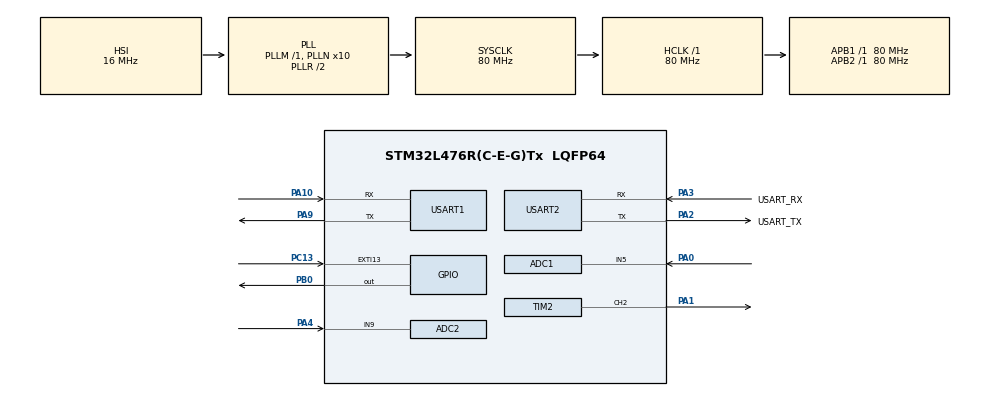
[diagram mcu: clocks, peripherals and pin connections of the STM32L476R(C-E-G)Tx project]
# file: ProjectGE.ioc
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ADC1.Channel-0\#ChannelRegularConversion=ADC_CHANNEL_5
ADC1.NbrOfConversionFlag=1
ADC1.OffsetNumber-0\#ChannelRegularConversion=ADC_OFFSET_NONE
ADC1.Rank-0\#ChannelRegularConversion=1
ADC1.SamplingTime-0\#ChannelRegularConversion=ADC_SAMPLETIME_2CYCLES_5
ADC1.master=1
ADC2.Channel-2\#ChannelRegularConversion=ADC_CHANNEL_9
ADC2.NbrOfConversionFlag=1
ADC2.OffsetNumber-2\#ChannelRegularConversion=ADC_OFFSET_NONE
ADC2.Rank-2\#ChannelRegularConversion=1
ADC2.SamplingTime-2\#ChannelRegularConversion=ADC_SAMPLETIME_2CYCLES_5
FREERTOS.Tasks01=defaultTask,0,128,StartDefaultTask,Default,NULL,Dynamic,NULL,NULL
FREERTOS.configUSE_NEWLIB_REENTRANT=1
Mcu.Family=STM32L4
Mcu.Name=STM32L476R(C-E-G)Tx
Mcu.Package=LQFP64
NVIC.EXTI15_10_IRQn=true\:5\:0\:false\:false\:true\:true\:true\:true
NVIC.PriorityGroup=NVIC_PRIORITYGROUP_4
NVIC.TIM1_UP_TIM16_IRQn=true\:15\:0\:false\:false\:true\:false\:false\:true
NVIC.TIM3_IRQn=true\:5\:0\:false\:false\:true\:true\:true\:true
NVIC.TimeBase=TIM1_UP_TIM16_IRQn
NVIC.TimeBaseIP=TIM1
NVIC.USART1_IRQn=true\:5\:0\:false\:false\:true\:true\:true\:true
NVIC.USART2_IRQn=true\:5\:0\:false\:false\:true\:true\:true\:true
PA0.Signal=ADCx_IN5
PA1.Signal=S_TIM2_CH2
PA10.Mode=Asynchronous
PA10.Signal=USART1_RX
PA13\ (JTMS-SWDIO).GPIO_Label=TMS
PA13\ (JTMS-SWDIO).Mode=Serial_Wire
PA13\ (JTMS-SWDIO).Signal=SYS_JTMS-SWDIO
PA14\ (JTCK-SWCLK).GPIO_Label=TCK
PA14\ (JTCK-SWCLK).Mode=Serial_Wire
PA14\ (JTCK-SWCLK).Signal=SYS_JTCK-SWCLK
PA2.GPIO_Label=USART_TX
PA2.GPIO_Mode=GPIO_MODE_AF_PP
PA2.GPIO_PuPd=GPIO_NOPULL
PA2.GPIO_Speed=GPIO_SPEED_FREQ_VERY_HIGH
PA2.Mode=Asynchronous
PA2.Signal=USART2_TX
PA3.GPIO_Label=USART_RX
PA3.GPIO_Mode=GPIO_MODE_AF_PP
PA3.GPIO_PuPd=GPIO_NOPULL
PA3.GPIO_Speed=GPIO_SPEED_FREQ_VERY_HIGH
PA3.Mode=Asynchronous
PA3.Signal=USART2_RX
PA4.Signal=ADCx_IN9
PA9.Mode=Asynchronous
PA9.Signal=USART1_TX
PB0.Signal=GPIO_Output
PB3\ (JTDO-TRACESWO).GPIO_Label=SWO
PB3\ (JTDO-TRACESWO).Signal=SYS_JTDO-SWO
PC13.GPIO_ModeDefaultEXTI=GPIO_MODE_IT_FALLING
PC13.Signal=GPXTI13
PC14-OSC32_IN\ (PC14).Mode=LSE-External-Oscillator
PC14-OSC32_IN\ (PC14).Signal=RCC_OSC32_IN
PC15-OSC32_OUT\ (PC15).Mode=LSE-External-Oscillator
PC15-OSC32_OUT\ (PC15).Signal=RCC_OSC32_OUT
PH0-OSC_IN\ (PH0).Signal=RCC_OSC_IN
PH1-OSC_OUT\ (PH1).Signal=RCC_OSC_OUT
ProjectManager.HeapSize=0x200
ProjectManager.StackSize=0x400
ProjectManager.TargetToolchain=STM32CubeIDE
RCC.ADCFreq_Value=64000000
RCC.AHBFreq_Value=80000000
RCC.APB1Freq_Value=80000000
RCC.APB1TimFreq_Value=80000000
RCC.APB2Freq_Value=80000000
RCC.APB2TimFreq_Value=80000000
RCC.CortexFreq_Value=80000000
RCC.HCLKFreq_Value=80000000
RCC.HSE_VALUE=8000000
RCC.HSI_VALUE=16000000
RCC.MSI_VALUE=4000000
RCC.PLLN=10
RCC.PLLSourceVirtual=RCC_PLLSOURCE_HSI
RCC.PREFETCH_ENABLE=1
RCC.SYSCLKFreq_VALUE=80000000
RCC.SYSCLKSource=RCC_SYSCLKSOURCE_PLLCLK
RCC.USBFreq_Value=64000000
RCC.VCOOutputFreq_Value=160000000
SH.ADCx_IN5.0=ADC1_IN5,IN5-Single-Ended
SH.ADCx_IN9.0=ADC2_IN9,IN9-Single-Ended
SH.S_TIM2_CH2.0=TIM2_CH2,PWM Generation2 CH2
TIM2.Channel-PWM\ Generation2\ CH2=TIM_CHANNEL_2
TIM2.Period=8000
TIM2.Prescaler=127
TIM3.Period=10000-1
TIM3.Prescaler=8000-1
USART1.VirtualMode-Asynchronous=VM_ASYNC
USART2.VirtualMode-Asynchronous=VM_ASYNC
VP_FREERTOS_VS_CMSIS_V1.Mode=CMSIS_V1
VP_SYS_VS_tim1.Mode=TIM1
VP_TIM2_VS_ClockSourceINT.Mode=Internal
VP_TIM3_VS_ClockSourceINT.Mode=Internal
board=NUCLEO-L476RG

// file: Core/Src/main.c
/* USER CODE BEGIN Header */
/**
  ******************************************************************************
  * @file           : main.c
  * @brief          : Main program body
  ******************************************************************************
  * @attention
  *
  * <h2><center>&copy; Copyright (c) 2021 STMicroelectronics.
  * All rights reserved.</center></h2>
  *
  * This software component is licensed by ST under BSD 3-Clause license,
  * the "License"; You may not use this file except in compliance with the
  * License. You may obtain a copy of the License at:
  *                        opensource.org/licenses/BSD-3-Clause
  *
  ******************************************************************************
  */
/* USER CODE END Header */
#include "main.h"
#include "cmsis_os.h"

/* USER CODE BEGIN Includes */
#include "string.h"
#include <stdio.h>
/* USER CODE END Includes */

ADC_HandleTypeDef hadc1;
ADC_HandleTypeDef hadc2;

TIM_HandleTypeDef htim2;
TIM_HandleTypeDef htim3;

osThreadId defaultTaskHandle;

void SystemClock_Config(void);
void PeriphCommonClock_Config(void);
static void MX_GPIO_Init(void);
static void MX_USART2_UART_Init(void);
static void MX_ADC1_Init(void);
static void MX_USART1_UART_Init(void);
static void MX_TIM3_Init(void);
static void MX_TIM2_Init(void);
static void MX_ADC2_Init(void);
void StartDefaultTask(void const * argument);

/* USER CODE BEGIN 0 */
uint8_t txData[13] = "Hello World\r\n";

#define TRUE  1
#define FALSE 0

#define TX_QUEUE_SIZE 128
#define RX_QUEUE_SIZE 5
#define USART_1 1
#define USART_2 2
extern void frear();

QueueHandle_t tx_queue_1;
QueueHandle_t rx_queue_1;
QueueHandle_t tx_queue_2;
QueueHandle_t rx_queue_2;
SemaphoreHandle_t uart_1_mutex = NULL;
SemaphoreHandle_t uart_2_mutex = NULL;

void sendchar(char c, char usart){
	if(usart == USART_1){
		xQueueSend(tx_queue_1, &c, HAL_MAX_DELAY);
		LL_USART_EnableIT_TXE(USART1);
	}
	else if( usart == USART_2){
		xQueueSend(tx_queue_2, &c, HAL_MAX_DELAY);
		LL_USART_EnableIT_TXE(USART2);
	}
}

void sendString(char * str, char usart){
	while(*str != 0){
		sendchar(*str, usart);
		str++;
	}
}

uint16_t read_voltageUNO(void) {
	HAL_ADC_Start(&hadc1);

	HAL_ADC_PollForConversion(&hadc1, HAL_MAX_DELAY);

	uint16_t input = HAL_ADC_GetValue(&hadc1);

	return input;
}

uint16_t read_voltageDUO(void) {
	HAL_ADC_Start(&hadc2);

	HAL_ADC_PollForConversion(&hadc2, HAL_MAX_DELAY);

	uint16_t input = HAL_ADC_GetValue(&hadc2);

	return input;
}

uint16_t temp1 = 0;
uint16_t temp2 = 0;
uint16_t count = 0;
uint16_t tempS = 0;
uint16_t pwm_value = 0;

void pont(void * vParam){
	char buff1[26];
	int cycle_count = 100000;
	while(1){
		if(count == 0){
			temp1 = read_voltageUNO();
			temp2 = read_voltageDUO();
	        if(pwm_value < 7500)
	        {
	            TIM2->CCR2 = pwm_value;
	            tempS += temp1+temp2;
	            pwm_value = tempS;
	        }
	        if(pwm_value > 0)
	        {
	            TIM2->CCR2 = pwm_value;
	            tempS -= temp1+temp2;
	            pwm_value = tempS;
	        }
		}
		else
		{
			temp1 = 0;
			temp2 = 0;
		}

		if(cycle_count == 0) {
			sprintf(buff1,"%d\r\n", temp1 + temp2);
			sendString(buff1, USART_1);
			cycle_count=100000;
		} else {
			cycle_count--;
		}
	}
}

//retirar essa função no final

//void print_scanner(){
//	char buff1[26];
//	sprintf(buff1,"%d\r\n", temp1 + temp2);
//	sendString(buff1, USART_2);
//}

void ligarCarro(){
	//retirar o sendString no final
	//sendString("carro ligado\r\n",USART_2);
	HAL_TIM_PWM_Start(&htim2, TIM_CHANNEL_2);
    count = 0;
}

char readchar(char usart){
	uint8_t caracter=0;
	if(usart == USART_1)
		xQueueReceive(rx_queue_1, &caracter, HAL_MAX_DELAY);
	else if(usart == USART_2)
		xQueueReceive(rx_queue_2, &caracter, HAL_MAX_DELAY);
	return caracter;
}

void input(void * vParam)
{
    uint8_t caracter;
        while(1)
        {
            caracter = readchar(USART_1);
            if(caracter == 'a') {
                ligarCarro();
            }
        }
}

void USART_2_IRQHandler(void)
{
	//Se for interrupcao de transmissao
    if (LL_USART_IsActiveFlag_TXE(USART2)) {
        BaseType_t contextSwitch;

        while (LL_USART_IsActiveFlag_TXE(USART2)) {
            uint8_t byte;
            //Desinfileira um byte para tranmistir
            if (xQueueReceiveFromISR(tx_queue_2, &byte, &contextSwitch) == pdFAIL) {
            	//Se a fila de transmissao esta vazia, encerra a transmissao
                LL_USART_DisableIT_TXE(USART2);
                break;
            }
            //Envia o byte retirado da fila de transmisao
            LL_USART_TransmitData8(USART2, byte);
        }
        portYIELD_FROM_ISR(contextSwitch);
    }

    //Se for interrupcao de recepcao
    if (LL_USART_IsActiveFlag_RXNE(USART2)) {
        BaseType_t contextSwitch;

        while (LL_USART_IsActiveFlag_RXNE(USART2)) {
        	//Copia o byte do regstrador de recepcao
        	uint8_t byte =
                LL_USART_ReceiveData8(USART2);
        	//Enfileira o byte recebido na fila de recepcao
            xQueueSendFromISR(rx_queue_2, &byte, &contextSwitch);
            // xQueueSendFromISR can return errQUEUE_FULL
        }
        portYIELD_FROM_ISR(contextSwitch);
    }
}

void USART_1_IRQHandler(void)
{
	//Se for interrupcao de transmissao
    if (LL_USART_IsActiveFlag_TXE(USART1)) {
        BaseType_t contextSwitch;

        while (LL_USART_IsActiveFlag_TXE(USART1)) {
            uint8_t byte;
            //Desinfileira um byte para tranmistir
            if (xQueueReceiveFromISR(tx_queue_1, &byte, &contextSwitch) == pdFAIL) {
            	//Se a fila de transmissao esta vazia, encerra a transmissao
                LL_USART_DisableIT_TXE(USART1);
                break;
            }
            //Envia o byte retirado da fila de transmisao
            LL_USART_TransmitData8(USART1, byte);
        }
        portYIELD_FROM_ISR(contextSwitch);
    }

    //Se for interrupcao de recepcao
    if (LL_USART_IsActiveFlag_RXNE(USART1)) {
        BaseType_t contextSwitch;

        while (LL_USART_IsActiveFlag_RXNE(USART1)) {
        	//Copia o byte do regstrador de recepcao
        	uint8_t byte =
                LL_USART_ReceiveData8(USART1);
        	//Enfileira o byte recebido na fila de recepcao
            xQueueSendFromISR(rx_queue_1, &byte, &contextSwitch);
            // xQueueSendFromISR can return errQUEUE_FULL
        }
        portYIELD_FROM_ISR(contextSwitch);
    }
}

/* USER CODE END 0 */

int main(void)
{

  /* MCU Configuration--------------------------------------------------------*/

  /* Reset of all peripherals, Initializes the Flash interface and the Systick. */
  HAL_Init();

  /* Configure the system clock */
  SystemClock_Config();

/* Configure the peripherals common clocks */
  PeriphCommonClock_Config();

  /* Initialize all configured peripherals */
  MX_GPIO_Init();
  MX_USART2_UART_Init();
  MX_ADC1_Init();
  MX_USART1_UART_Init();
  MX_TIM3_Init();
  MX_TIM2_Init();
  MX_ADC2_Init();
  /* USER CODE BEGIN 2 */
  uart_1_mutex = xSemaphoreCreateMutex();
  uart_2_mutex = xSemaphoreCreateMutex();
  /* USER CODE END 2 */

  /* Create the thread(s) */
  /* definition and creation of defaultTask */
  osThreadDef(defaultTask, StartDefaultTask, osPriorityNormal, 0, 128);
  defaultTaskHandle = osThreadCreate(osThread(defaultTask), NULL);

  /* USER CODE BEGIN RTOS_THREADS */
  /* add threads, ... */

  xTaskCreate(input,    /* Nome da funcao que contem a task */
   		  	  "input",     /* Nome descritivo */
 			  configMINIMAL_STACK_SIZE,   /* tamanho da pilha da task */
 			  NULL,       /* parametro para a task */
 			  1,          /* nivel de prioridade */
 			  NULL);      /* ponteiro para o handle da task */

  xTaskCreate(pont,    /* Nome da funcao que contem a task */
   		  	  "pontUNO",     /* Nome descritivo */
 			  configMINIMAL_STACK_SIZE,   /* tamanho da pilha da task */
 			  NULL,       /* parametro para a task */
 			  1,          /* nivel de prioridade */
			  NULL);      /* ponteiro para o handle da task */

  /* USER CODE END RTOS_THREADS */

  /* Start scheduler */
  osKernelStart();

  /* We should never get here as control is now taken by the scheduler */
  /* Infinite loop */
  while (1)
  {

  }
}

void SystemClock_Config(void)
{
  RCC_OscInitTypeDef RCC_OscInitStruct = {0};
  RCC_ClkInitTypeDef RCC_ClkInitStruct = {0};

  /** Configure the main internal regulator output voltage
  */
  if (HAL_PWREx_ControlVoltageScaling(PWR_REGULATOR_VOLTAGE_SCALE1) != HAL_OK)
  {
    Error_Handler();
  }
  /** Initializes the RCC Oscillators according to the specified parameters
  * in the RCC_OscInitTypeDef structure.
  */
  RCC_OscInitStruct.OscillatorType = RCC_OSCILLATORTYPE_HSI;
  RCC_OscInitStruct.HSIState = RCC_HSI_ON;
  RCC_OscInitStruct.HSICalibrationValue = RCC_HSICALIBRATION_DEFAULT;
  RCC_OscInitStruct.PLL.PLLState = RCC_PLL_ON;
  RCC_OscInitStruct.PLL.PLLSource = RCC_PLLSOURCE_HSI;
  RCC_OscInitStruct.PLL.PLLM = 1;
  RCC_OscInitStruct.PLL.PLLN = 10;
  RCC_OscInitStruct.PLL.PLLP = RCC_PLLP_DIV7;
  RCC_OscInitStruct.PLL.PLLQ = RCC_PLLQ_DIV2;
  RCC_OscInitStruct.PLL.PLLR = RCC_PLLR_DIV2;
  if (HAL_RCC_OscConfig(&RCC_OscInitStruct) != HAL_OK)
  {
    Error_Handler();
  }
  /** Initializes the CPU, AHB and APB buses clocks
  */
  RCC_ClkInitStruct.ClockType = RCC_CLOCKTYPE_HCLK|RCC_CLOCKTYPE_SYSCLK
                              |RCC_CLOCKTYPE_PCLK1|RCC_CLOCKTYPE_PCLK2;
  RCC_ClkInitStruct.SYSCLKSource = RCC_SYSCLKSOURCE_PLLCLK;
  RCC_ClkInitStruct.AHBCLKDivider = RCC_SYSCLK_DIV1;
  RCC_ClkInitStruct.APB1CLKDivider = RCC_HCLK_DIV1;
  RCC_ClkInitStruct.APB2CLKDivider = RCC_HCLK_DIV1;

  if (HAL_RCC_ClockConfig(&RCC_ClkInitStruct, FLASH_LATENCY_4) != HAL_OK)
  {
    Error_Handler();
  }
}

void PeriphCommonClock_Config(void)
{
  RCC_PeriphCLKInitTypeDef PeriphClkInit = {0};

  /** Initializes the peripherals clock
  */
  PeriphClkInit.PeriphClockSelection = RCC_PERIPHCLK_ADC;
  PeriphClkInit.AdcClockSelection = RCC_ADCCLKSOURCE_PLLSAI1;
  PeriphClkInit.PLLSAI1.PLLSAI1Source = RCC_PLLSOURCE_HSI;
  PeriphClkInit.PLLSAI1.PLLSAI1M = 1;
  PeriphClkInit.PLLSAI1.PLLSAI1N = 8;
  PeriphClkInit.PLLSAI1.PLLSAI1P = RCC_PLLP_DIV7;
  PeriphClkInit.PLLSAI1.PLLSAI1Q = RCC_PLLQ_DIV2;
  PeriphClkInit.PLLSAI1.PLLSAI1R = RCC_PLLR_DIV2;
  PeriphClkInit.PLLSAI1.PLLSAI1ClockOut = RCC_PLLSAI1_ADC1CLK;
  if (HAL_RCCEx_PeriphCLKConfig(&PeriphClkInit) != HAL_OK)
  {
    Error_Handler();
  }
}

static void MX_ADC1_Init(void)
{

  ADC_MultiModeTypeDef multimode = {0};
  ADC_ChannelConfTypeDef sConfig = {0};

  /** Common config
  */
  hadc1.Instance = ADC1;
  hadc1.Init.ClockPrescaler = ADC_CLOCK_ASYNC_DIV1;
  hadc1.Init.Resolution = ADC_RESOLUTION_12B;
  hadc1.Init.DataAlign = ADC_DATAALIGN_RIGHT;
  hadc1.Init.ScanConvMode = ADC_SCAN_DISABLE;
  hadc1.Init.EOCSelection = ADC_EOC_SINGLE_CONV;
  hadc1.Init.LowPowerAutoWait = DISABLE;
  hadc1.Init.ContinuousConvMode = DISABLE;
  hadc1.Init.NbrOfConversion = 1;
  hadc1.Init.DiscontinuousConvMode = DISABLE;
  hadc1.Init.ExternalTrigConv = ADC_SOFTWARE_START;
  hadc1.Init.ExternalTrigConvEdge = ADC_EXTERNALTRIGCONVEDGE_NONE;
  hadc1.Init.DMAContinuousRequests = DISABLE;
  hadc1.Init.Overrun = ADC_OVR_DATA_PRESERVED;
  hadc1.Init.OversamplingMode = DISABLE;
  if (HAL_ADC_Init(&hadc1) != HAL_OK)
  {
    Error_Handler();
  }
  /** Configure the ADC multi-mode
  */
  multimode.Mode = ADC_MODE_INDEPENDENT;
  if (HAL_ADCEx_MultiModeConfigChannel(&hadc1, &multimode) != HAL_OK)
  {
    Error_Handler();
  }
  /** Configure Regular Channel
  */
  sConfig.Channel = ADC_CHANNEL_5;
  sConfig.Rank = ADC_REGULAR_RANK_1;
  sConfig.SamplingTime = ADC_SAMPLETIME_2CYCLES_5;
  sConfig.SingleDiff = ADC_SINGLE_ENDED;
  sConfig.OffsetNumber = ADC_OFFSET_NONE;
  sConfig.Offset = 0;
  if (HAL_ADC_ConfigChannel(&hadc1, &sConfig) != HAL_OK)
  {
    Error_Handler();
  }

}

static void MX_ADC2_Init(void)
{

  ADC_ChannelConfTypeDef sConfig = {0};

  /** Common config
  */
  hadc2.Instance = ADC2;
  hadc2.Init.ClockPrescaler = ADC_CLOCK_ASYNC_DIV1;
  hadc2.Init.Resolution = ADC_RESOLUTION_12B;
  hadc2.Init.DataAlign = ADC_DATAALIGN_RIGHT;
  hadc2.Init.ScanConvMode = ADC_SCAN_DISABLE;
  hadc2.Init.EOCSelection = ADC_EOC_SINGLE_CONV;
  hadc2.Init.LowPowerAutoWait = DISABLE;
  hadc2.Init.ContinuousConvMode = DISABLE;
  hadc2.Init.NbrOfConversion = 1;
  hadc2.Init.DiscontinuousConvMode = DISABLE;
  hadc2.Init.ExternalTrigConv = ADC_SOFTWARE_START;
  hadc2.Init.ExternalTrigConvEdge = ADC_EXTERNALTRIGCONVEDGE_NONE;
  hadc2.Init.DMAContinuousRequests = DISABLE;
  hadc2.Init.Overrun = ADC_OVR_DATA_PRESERVED;
  hadc2.Init.OversamplingMode = DISABLE;
  if (HAL_ADC_Init(&hadc2) != HAL_OK)
  {
    Error_Handler();
  }
  /** Configure Regular Channel
  */
  sConfig.Channel = ADC_CHANNEL_9;
  sConfig.Rank = ADC_REGULAR_RANK_1;
  sConfig.SamplingTime = ADC_SAMPLETIME_2CYCLES_5;
  sConfig.SingleDiff = ADC_SINGLE_ENDED;
  sConfig.OffsetNumber = ADC_OFFSET_NONE;
  sConfig.Offset = 0;
  if (HAL_ADC_ConfigChannel(&hadc2, &sConfig) != HAL_OK)
  {
    Error_Handler();
  }

}

static void MX_TIM2_Init(void)
{

  TIM_ClockConfigTypeDef sClockSourceConfig = {0};
  TIM_MasterConfigTypeDef sMasterConfig = {0};
  TIM_OC_InitTypeDef sConfigOC = {0};

  htim2.Instance = TIM2;
  htim2.Init.Prescaler = 127;
  htim2.Init.CounterMode = TIM_COUNTERMODE_UP;
  htim2.Init.Period = 8000;
  htim2.Init.ClockDivision = TIM_CLOCKDIVISION_DIV1;
  htim2.Init.AutoReloadPreload = TIM_AUTORELOAD_PRELOAD_DISABLE;
  if (HAL_TIM_Base_Init(&htim2) != HAL_OK)
  {
    Error_Handler();
  }
  sClockSourceConfig.ClockSource = TIM_CLOCKSOURCE_INTERNAL;
  if (HAL_TIM_ConfigClockSource(&htim2, &sClockSourceConfig) != HAL_OK)
  {
    Error_Handler();
  }
  if (HAL_TIM_PWM_Init(&htim2) != HAL_OK)
  {
    Error_Handler();
  }
  sMasterConfig.MasterOutputTrigger = TIM_TRGO_RESET;
  sMasterConfig.MasterSlaveMode = TIM_MASTERSLAVEMODE_DISABLE;
  if (HAL_TIMEx_MasterConfigSynchronization(&htim2, &sMasterConfig) != HAL_OK)
  {
    Error_Handler();
  }
  sConfigOC.OCMode = TIM_OCMODE_PWM1;
  sConfigOC.Pulse = 0;
  sConfigOC.OCPolarity = TIM_OCPOLARITY_HIGH;
  sConfigOC.OCFastMode = TIM_OCFAST_DISABLE;
  if (HAL_TIM_PWM_ConfigChannel(&htim2, &sConfigOC, TIM_CHANNEL_2) != HAL_OK)
  {
    Error_Handler();
  }
  HAL_TIM_MspPostInit(&htim2);

}

static void MX_TIM3_Init(void)
{

  TIM_ClockConfigTypeDef sClockSourceConfig = {0};
  TIM_MasterConfigTypeDef sMasterConfig = {0};

  htim3.Instance = TIM3;
  htim3.Init.Prescaler = 8000-1;
  htim3.Init.CounterMode = TIM_COUNTERMODE_UP;
  htim3.Init.Period = 10000-1;
  htim3.Init.ClockDivision = TIM_CLOCKDIVISION_DIV1;
  htim3.Init.AutoReloadPreload = TIM_AUTORELOAD_PRELOAD_DISABLE;
  if (HAL_TIM_Base_Init(&htim3) != HAL_OK)
  {
    Error_Handler();
  }
  sClockSourceConfig.ClockSource = TIM_CLOCKSOURCE_INTERNAL;
  if (HAL_TIM_ConfigClockSource(&htim3, &sClockSourceConfig) != HAL_OK)
  {
    Error_Handler();
  }
  sMasterConfig.MasterOutputTrigger = TIM_TRGO_RESET;
  sMasterConfig.MasterSlaveMode = TIM_MASTERSLAVEMODE_DISABLE;
  if (HAL_TIMEx_MasterConfigSynchronization(&htim3, &sMasterConfig) != HAL_OK)
  {
    Error_Handler();
  }

}

static void MX_USART1_UART_Init(void)
{

  LL_USART_InitTypeDef USART_InitStruct = {0};

  LL_GPIO_InitTypeDef GPIO_InitStruct = {0};
  RCC_PeriphCLKInitTypeDef PeriphClkInit = {0};

  /** Initializes the peripherals clock
  */
  PeriphClkInit.PeriphClockSelection = RCC_PERIPHCLK_USART1;
  PeriphClkInit.Usart1ClockSelection = RCC_USART1CLKSOURCE_PCLK2;
  if (HAL_RCCEx_PeriphCLKConfig(&PeriphClkInit) != HAL_OK)
  {
    Error_Handler();
  }

  /* Peripheral clock enable */
  LL_APB2_GRP1_EnableClock(LL_APB2_GRP1_PERIPH_USART1);

  LL_AHB2_GRP1_EnableClock(LL_AHB2_GRP1_PERIPH_GPIOA);
  /**USART1 GPIO Configuration
  PA9   ------> USART1_TX
  PA10   ------> USART1_RX
  */
  GPIO_InitStruct.Pin = LL_GPIO_PIN_9|LL_GPIO_PIN_10;
  GPIO_InitStruct.Mode = LL_GPIO_MODE_ALTERNATE;
  GPIO_InitStruct.Speed = LL_GPIO_SPEED_FREQ_VERY_HIGH;
  GPIO_InitStruct.OutputType = LL_GPIO_OUTPUT_PUSHPULL;
  GPIO_InitStruct.Pull = LL_GPIO_PULL_NO;
  GPIO_InitStruct.Alternate = LL_GPIO_AF_7;
  LL_GPIO_Init(GPIOA, &GPIO_InitStruct);

  /* USART1 interrupt Init */
  NVIC_SetPriority(USART1_IRQn, NVIC_EncodePriority(NVIC_GetPriorityGrouping(),5, 0));
  NVIC_EnableIRQ(USART1_IRQn);

  USART_InitStruct.BaudRate = 115200;
  USART_InitStruct.DataWidth = LL_USART_DATAWIDTH_8B;
  USART_InitStruct.StopBits = LL_USART_STOPBITS_1;
  USART_InitStruct.Parity = LL_USART_PARITY_NONE;
  USART_InitStruct.TransferDirection = LL_USART_DIRECTION_TX_RX;
  USART_InitStruct.HardwareFlowControl = LL_USART_HWCONTROL_NONE;
  USART_InitStruct.OverSampling = LL_USART_OVERSAMPLING_16;
  LL_USART_Init(USART1, &USART_InitStruct);
  LL_USART_ConfigAsyncMode(USART1);
  LL_USART_Enable(USART1);

}

static void MX_USART2_UART_Init(void)
{

  /* USER CODE BEGIN USART2_Init 0 */

	tx_queue_1 = xQueueCreate(10, sizeof(uint8_t));
	rx_queue_1 = xQueueCreate(10, sizeof(uint8_t));
	LL_USART_EnableIT_RXNE(USART2);

  /* USER CODE END USART2_Init 0 */

  LL_USART_InitTypeDef USART_InitStruct = {0};

  LL_GPIO_InitTypeDef GPIO_InitStruct = {0};
  RCC_PeriphCLKInitTypeDef PeriphClkInit = {0};

  /** Initializes the peripherals clock
  */
  PeriphClkInit.PeriphClockSelection = RCC_PERIPHCLK_USART2;
  PeriphClkInit.Usart2ClockSelection = RCC_USART2CLKSOURCE_PCLK1;
  if (HAL_RCCEx_PeriphCLKConfig(&PeriphClkInit) != HAL_OK)
  {
    Error_Handler();
  }

  /* Peripheral clock enable */
  LL_APB1_GRP1_EnableClock(LL_APB1_GRP1_PERIPH_USART2);

  LL_AHB2_GRP1_EnableClock(LL_AHB2_GRP1_PERIPH_GPIOA);
  /**USART2 GPIO Configuration
  PA2   ------> USART2_TX
  PA3   ------> USART2_RX
  */
  GPIO_InitStruct.Pin = LL_GPIO_PIN_2|LL_GPIO_PIN_3;
  GPIO_InitStruct.Mode = LL_GPIO_MODE_ALTERNATE;
  GPIO_InitStruct.Speed = LL_GPIO_SPEED_FREQ_VERY_HIGH;
  GPIO_InitStruct.OutputType = LL_GPIO_OUTPUT_PUSHPULL;
  GPIO_InitStruct.Pull = LL_GPIO_PULL_NO;
  GPIO_InitStruct.Alternate = LL_GPIO_AF_7;
  LL_GPIO_Init(GPIOA, &GPIO_InitStruct);

  /* USART2 interrupt Init */
  NVIC_SetPriority(USART2_IRQn, NVIC_EncodePriority(NVIC_GetPriorityGrouping(),5, 0));
  NVIC_EnableIRQ(USART2_IRQn);

  USART_InitStruct.BaudRate = 115200;
  USART_InitStruct.DataWidth = LL_USART_DATAWIDTH_8B;
  USART_InitStruct.StopBits = LL_USART_STOPBITS_1;
  USART_InitStruct.Parity = LL_USART_PARITY_NONE;
  USART_InitStruct.TransferDirection = LL_USART_DIRECTION_TX_RX;
  USART_InitStruct.HardwareFlowControl = LL_USART_HWCONTROL_NONE;
  USART_InitStruct.OverSampling = LL_USART_OVERSAMPLING_16;
  LL_USART_Init(USART2, &USART_InitStruct);
  LL_USART_ConfigAsyncMode(USART2);
  LL_USART_Enable(USART2);
  /* USER CODE BEGIN USART2_Init 2 */
  tx_queue_2 = xQueueCreate(TX_QUEUE_SIZE, sizeof(uint8_t));
  rx_queue_2 = xQueueCreate(RX_QUEUE_SIZE, sizeof(uint8_t));

  LL_USART_EnableIT_RXNE(USART2);
  /* USER CODE END USART2_Init 2 */

}

static void MX_GPIO_Init(void)
{
  GPIO_InitTypeDef GPIO_InitStruct = {0};

  /* GPIO Ports Clock Enable */
  __HAL_RCC_GPIOC_CLK_ENABLE();
  __HAL_RCC_GPIOH_CLK_ENABLE();
  __HAL_RCC_GPIOA_CLK_ENABLE();
  __HAL_RCC_GPIOB_CLK_ENABLE();

  /*Configure GPIO pin Output Level */
  HAL_GPIO_WritePin(GPIOB, GPIO_PIN_0, GPIO_PIN_RESET);

  /*Configure GPIO pin : PC13 */
  GPIO_InitStruct.Pin = GPIO_PIN_13;
  GPIO_InitStruct.Mode = GPIO_MODE_IT_FALLING;
  GPIO_InitStruct.Pull = GPIO_NOPULL;
  HAL_GPIO_Init(GPIOC, &GPIO_InitStruct);

  /*Configure GPIO pin : PB0 */
  GPIO_InitStruct.Pin = GPIO_PIN_0;
  GPIO_InitStruct.Mode = GPIO_MODE_OUTPUT_PP;
  GPIO_InitStruct.Pull = GPIO_NOPULL;
  GPIO_InitStruct.Speed = GPIO_SPEED_FREQ_LOW;
  HAL_GPIO_Init(GPIOB, &GPIO_InitStruct);

  /* EXTI interrupt init*/
  HAL_NVIC_SetPriority(EXTI15_10_IRQn, 5, 0);
  HAL_NVIC_EnableIRQ(EXTI15_10_IRQn);

}

void StartDefaultTask(void const * argument)
{
  for(;;)
  {
    osDelay(1);
  }
}

void HAL_TIM_PeriodElapsedCallback(TIM_HandleTypeDef *htim)
{
  if (htim->Instance == TIM1) {
    HAL_IncTick();
  }
}
  /* USER CODE BEGIN Callback 1 */
void HAL_GPIO_EXTI_Callback(uint16_t GPIO_Pin)
  {
      if(GPIO_Pin == GPIO_PIN_13) // If The INT Source Is EXTI Line9 (A9 Pin)
      {
    	  count +=1;
    	  HAL_TIM_PWM_Stop(&htim2, TIM_CHANNEL_2);

    	  //HAL_GPIO_WritePin(GPIOB, GPIO_PIN_0, GPIO_PIN_RESET);
      }
  }
  /* USER CODE END Callback 1 */

void Error_Handler(void)
{
  __disable_irq();
  while (1)
  {
  }
}

/************************ (C) COPYRIGHT STMicroelectronics *****END OF FILE****/
